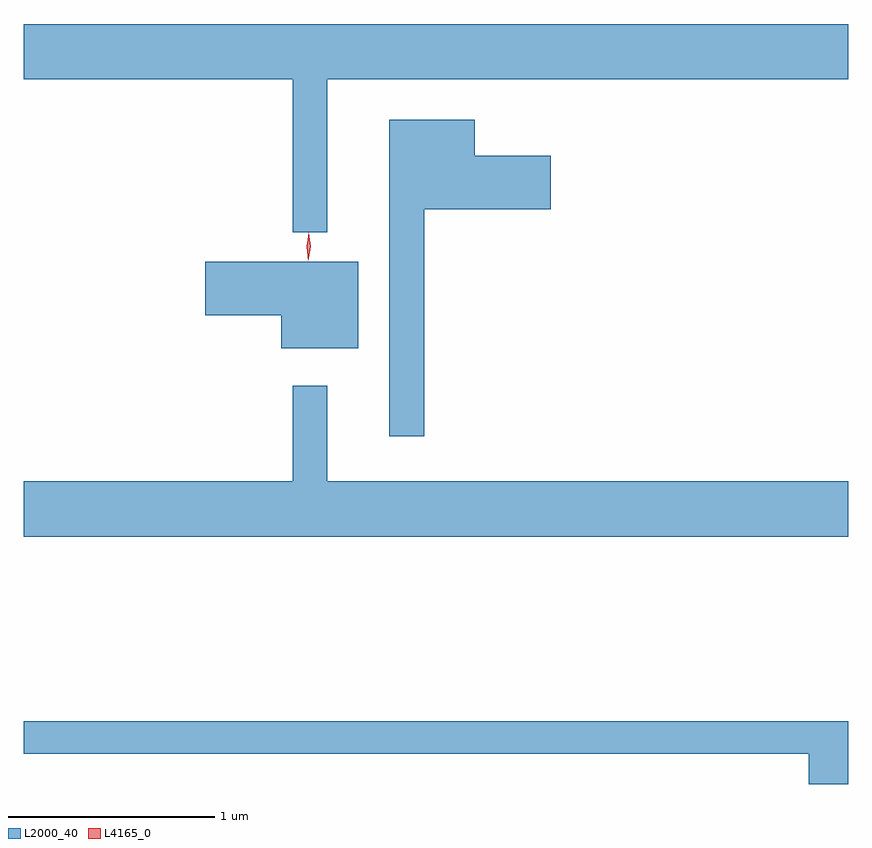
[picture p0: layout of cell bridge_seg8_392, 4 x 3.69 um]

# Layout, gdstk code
import gdstk
lib = gdstk.Library(unit=1e-6, precision=1e-09)
def P(c, l, *ps):  # polygons
    for p in ps: c.add(gdstk.Polygon(p, *l))
L2000_40 = (2000, 40)
L4165_0 = (4165, 0)

bridge_seg8_392 = lib.new_cell('bridge_seg8_392')
P(bridge_seg8_392, L2000_40, [(829.349,1851.956),(831.877,1851.956),(831.877,1852.224),(827.877,1852.224),(827.877,1851.956),(829.181,1851.956),(829.181,1851.213),(829.349,1851.213)],
  [(829.819,1851.326),(830.434,1851.326),(830.434,1851.584),(830.064,1851.584),(830.064,1851.759),(829.651,1851.759),(829.651,1850.223),(829.819,1850.223)],
  [(829.499,1851.069),(828.756,1851.069),(828.756,1850.811),(829.126,1850.811),(829.126,1850.651),(829.499,1850.651)],
  [(831.877,1850.004),(829.349,1850.004),(829.349,1850.468),(829.181,1850.468),(829.181,1850.004),(827.877,1850.004),(827.877,1849.736),(831.877,1849.736)],
  [(831.877,1848.839),(827.877,1848.839),(827.877,1848.681),(831.686,1848.681),(831.686,1848.535),(831.877,1848.535)])
P(bridge_seg8_392, L4165_0, [(829.258,1851.08),(829.258,1851.081),(829.249,1851.144),(829.259,1851.206),(829.26,1851.207),(829.26,1851.206),(829.269,1851.144),(829.258,1851.081)],
  [(829.258,1851.074),(829.258,1851.074),(829.249,1851.142),(829.259,1851.21),(829.26,1851.21),(829.26,1851.21),(829.269,1851.142),(829.258,1851.074)])

lib.write_gds('bridge_seg8_392.gds')
